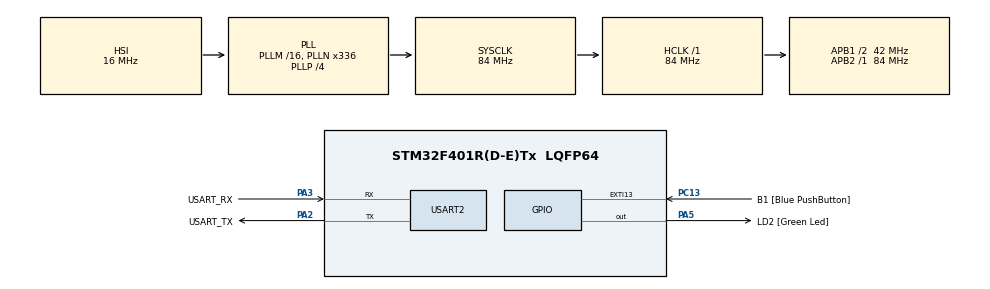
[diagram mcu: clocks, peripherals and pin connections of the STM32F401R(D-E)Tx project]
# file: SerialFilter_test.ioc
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Mcu.Family=STM32F4
Mcu.Name=STM32F401R(D-E)Tx
Mcu.Package=LQFP64
NVIC.PriorityGroup=NVIC_PRIORITYGROUP_0
PA13.GPIO_Label=TMS
PA13.Mode=Serial_Wire
PA13.Signal=SYS_JTMS-SWDIO
PA14.GPIO_Label=TCK
PA14.Mode=Serial_Wire
PA14.Signal=SYS_JTCK-SWCLK
PA2.GPIO_Label=USART_TX
PA2.GPIO_Mode=GPIO_MODE_AF_PP
PA2.GPIO_PuPd=GPIO_NOPULL
PA2.GPIO_Speed=GPIO_SPEED_FREQ_LOW
PA2.Mode=Asynchronous
PA2.Signal=USART2_TX
PA3.GPIO_Label=USART_RX
PA3.GPIO_Mode=GPIO_MODE_AF_PP
PA3.GPIO_PuPd=GPIO_NOPULL
PA3.GPIO_Speed=GPIO_SPEED_FREQ_LOW
PA3.Mode=Asynchronous
PA3.Signal=USART2_RX
PA5.GPIO_Label=LD2 [Green Led]
PA5.GPIO_Mode=GPIO_MODE_OUTPUT_PP
PA5.GPIO_PuPd=GPIO_NOPULL
PA5.GPIO_Speed=GPIO_SPEED_FREQ_LOW
PA5.Signal=GPIO_Output
PB3.GPIO_Label=SWO
PB3.Signal=SYS_JTDO-SWO
PC13-ANTI_TAMP.GPIO_Label=B1 [Blue PushButton]
PC13-ANTI_TAMP.GPIO_ModeDefaultEXTI=GPIO_MODE_IT_FALLING
PC13-ANTI_TAMP.GPIO_PuPd=GPIO_NOPULL
PC13-ANTI_TAMP.Signal=GPXTI13
PC14-OSC32_IN.Mode=LSE-External-Oscillator
PC14-OSC32_IN.Signal=RCC_OSC32_IN
PC15-OSC32_OUT.Mode=LSE-External-Oscillator
PC15-OSC32_OUT.Signal=RCC_OSC32_OUT
PH0\ -\ OSC_IN.Mode=HSE-External-Clock-Source
PH0\ -\ OSC_IN.Signal=RCC_OSC_IN
PH1\ -\ OSC_OUT.Mode=HSE-External-Clock-Source
PH1\ -\ OSC_OUT.Signal=RCC_OSC_OUT
ProjectManager.HeapSize=0x200
ProjectManager.StackSize=0x400
ProjectManager.TargetToolchain=STM32CubeIDE
RCC.48MHZClocksFreq_Value=48000000
RCC.AHBFreq_Value=84000000
RCC.APB1CLKDivider=RCC_HCLK_DIV2
RCC.APB1Freq_Value=42000000
RCC.APB1TimFreq_Value=84000000
RCC.APB2Freq_Value=84000000
RCC.APB2TimFreq_Value=84000000
RCC.CortexFreq_Value=84000000
RCC.HCLKFreq_Value=84000000
RCC.HSE_VALUE=8000000
RCC.HSI_VALUE=16000000
RCC.PLLN=336
RCC.PLLP=RCC_PLLP_DIV4
RCC.PLLQ=7
RCC.SYSCLKFreq_VALUE=84000000
RCC.SYSCLKSource=RCC_SYSCLKSOURCE_PLLCLK
RCC.VCOOutputFreq_Value=336000000
USART2.VirtualMode=VM_ASYNC
board=NUCLEO-F401RE

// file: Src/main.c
/* USER CODE BEGIN Header */
/**
  ******************************************************************************
  * @file           : main.c
  * @brief          : Main program body
  ******************************************************************************
  * @attention
  *
  * <h2><center>&copy; Copyright (c) 2019 STMicroelectronics.
  * All rights reserved.</center></h2>
  *
  * This software component is licensed by ST under BSD 3-Clause license,
  * the "License"; You may not use this file except in compliance with the
  * License. You may obtain a copy of the License at:
  *                        opensource.org/licenses/BSD-3-Clause
  *
  ******************************************************************************
  */
/* USER CODE END Header */

#include "main.h"

#include "arm_math.h"

//Binding Includes:

#include "rdsp.h"

#include "cmp.h"

/* USER CODE BEGIN PD */

#define MAX_NUM_TAPS 32

#define BLOCK_SIZE 100

#define RX_BUFFER_LEN 10

#define TX_BUFFER_LEN 10

#define USART_TIMEOUT HAL_MAX_DELAY //(ms)

//ESTADOS

#define ESPERANDO_FILTRO 	0
#define INSTANCIANDO_FILTRO 1
#define PROCESAR 			2
#define ENVIAR_RESULTADO 	3

/* USER CODE END PD */

UART_HandleTypeDef huart2;

uint8_t RX_Data[RX_BUFFER_LEN];

uint8_t TX_Data[TX_BUFFER_LEN];

HAL_StatusTypeDef status;

uint8_t state = 0;

//Filter Variables:

arm_fir_instance_q15 S;

uint16_t numTaps = MAX_NUM_TAPS;

q15_t	pCoeffs[MAX_NUM_TAPS] = {0};

q15_t   pState[BLOCK_SIZE];

uint32_t blockSize = BLOCK_SIZE;

q15_t pSrc[BLOCK_SIZE], pDst[BLOCK_SIZE];

//Binding Variables

rdsp_context_t Context;

rdsp_read_t RX = {(void*) RX_Data, (size_t) RX_BUFFER_LEN, NULL};

rdsp_write_t TX = {(void*) TX_Data, (size_t) TX_BUFFER_LEN, NULL};

void SystemClock_Config(void);
static void MX_GPIO_Init(void);
static void MX_USART2_UART_Init(void);

int main(void)
{

	  /* MCU Configuration--------------------------------------------------------*/

	  /* Reset of all peripherals, Initializes the Flash interface and the Systick. */
	  HAL_Init();

	  /* USER CODE BEGIN Init */

	  rdsp_context_init(&Context, RX, TX, NULL);

	  /* USER CODE END Init */

	  /* Configure the system clock */
	  SystemClock_Config();

	  /* Initialize all configured peripherals */
	  MX_GPIO_Init();
	  MX_USART2_UART_Init();

	  /* Infinite loop */
	  /* USER CODE BEGIN WHILE */
	  while (1)
	  {

		  switch(state)
		  {
			  case ESPERANDO_FILTRO :

				  status = HAL_UART_Receive(&huart2, RX_Data, RX_BUFFER_LEN, USART_TIMEOUT);

				  if(status != HAL_TIMEOUT)
				  {
					  state = INSTANCIANDO_FILTRO;
				  }

				  else state = ESPERANDO_FILTRO;

				  break;
			  case INSTANCIANDO_FILTRO :

				  arm_fir_init_q15(&S, numTaps, pCoeffs, pState, blockSize);

				  break;

			  case PROCESAR :

				  arm_fir_q15(&S, pSrc, pDst, blockSize);

				  break;
			  case ENVIAR_RESULTADO :

				  status = HAL_UART_Transmit(&huart2, TX_Data, TX_BUFFER_LEN, USART_TIMEOUT);

				  if(status != HAL_TIMEOUT)
				  {
					  state = ESPERANDO_FILTRO;
				  }

				  else state = ENVIAR_RESULTADO;

				  break;
			  default :

				  state = ESPERANDO_FILTRO;
				  break;
		  }

	    /* USER CODE END WHILE */

	  }
}

void SystemClock_Config(void)
{
  RCC_OscInitTypeDef RCC_OscInitStruct = {0};
  RCC_ClkInitTypeDef RCC_ClkInitStruct = {0};

  /** Configure the main internal regulator output voltage
  */
  __HAL_RCC_PWR_CLK_ENABLE();
  __HAL_PWR_VOLTAGESCALING_CONFIG(PWR_REGULATOR_VOLTAGE_SCALE2);
  /** Initializes the CPU, AHB and APB busses clocks
  */
  RCC_OscInitStruct.OscillatorType = RCC_OSCILLATORTYPE_HSI;
  RCC_OscInitStruct.HSIState = RCC_HSI_ON;
  RCC_OscInitStruct.HSICalibrationValue = RCC_HSICALIBRATION_DEFAULT;
  RCC_OscInitStruct.PLL.PLLState = RCC_PLL_ON;
  RCC_OscInitStruct.PLL.PLLSource = RCC_PLLSOURCE_HSI;
  RCC_OscInitStruct.PLL.PLLM = 16;
  RCC_OscInitStruct.PLL.PLLN = 336;
  RCC_OscInitStruct.PLL.PLLP = RCC_PLLP_DIV4;
  RCC_OscInitStruct.PLL.PLLQ = 7;
  if (HAL_RCC_OscConfig(&RCC_OscInitStruct) != HAL_OK)
  {
    Error_Handler();
  }
  /** Initializes the CPU, AHB and APB busses clocks
  */
  RCC_ClkInitStruct.ClockType = RCC_CLOCKTYPE_HCLK|RCC_CLOCKTYPE_SYSCLK
                              |RCC_CLOCKTYPE_PCLK1|RCC_CLOCKTYPE_PCLK2;
  RCC_ClkInitStruct.SYSCLKSource = RCC_SYSCLKSOURCE_PLLCLK;
  RCC_ClkInitStruct.AHBCLKDivider = RCC_SYSCLK_DIV1;
  RCC_ClkInitStruct.APB1CLKDivider = RCC_HCLK_DIV2;
  RCC_ClkInitStruct.APB2CLKDivider = RCC_HCLK_DIV1;

  if (HAL_RCC_ClockConfig(&RCC_ClkInitStruct, FLASH_LATENCY_2) != HAL_OK)
  {
    Error_Handler();
  }
}

static void MX_USART2_UART_Init(void)
{

  huart2.Instance = USART2;
  huart2.Init.BaudRate = 115200;
  huart2.Init.WordLength = UART_WORDLENGTH_8B;
  huart2.Init.StopBits = UART_STOPBITS_1;
  huart2.Init.Parity = UART_PARITY_NONE;
  huart2.Init.Mode = UART_MODE_TX_RX;
  huart2.Init.HwFlowCtl = UART_HWCONTROL_NONE;
  huart2.Init.OverSampling = UART_OVERSAMPLING_16;
  if (HAL_UART_Init(&huart2) != HAL_OK)
  {
    Error_Handler();
  }

}

static void MX_GPIO_Init(void)
{
  GPIO_InitTypeDef GPIO_InitStruct = {0};

  /* GPIO Ports Clock Enable */
  __HAL_RCC_GPIOC_CLK_ENABLE();
  __HAL_RCC_GPIOH_CLK_ENABLE();
  __HAL_RCC_GPIOA_CLK_ENABLE();
  __HAL_RCC_GPIOB_CLK_ENABLE();

  /*Configure GPIO pin Output Level */
  HAL_GPIO_WritePin(LD2_GPIO_Port, LD2_Pin, GPIO_PIN_RESET);

  /*Configure GPIO pin : B1_Pin */
  GPIO_InitStruct.Pin = B1_Pin;
  GPIO_InitStruct.Mode = GPIO_MODE_IT_FALLING;
  GPIO_InitStruct.Pull = GPIO_NOPULL;
  HAL_GPIO_Init(B1_GPIO_Port, &GPIO_InitStruct);

  /*Configure GPIO pin : LD2_Pin */
  GPIO_InitStruct.Pin = LD2_Pin;
  GPIO_InitStruct.Mode = GPIO_MODE_OUTPUT_PP;
  GPIO_InitStruct.Pull = GPIO_NOPULL;
  GPIO_InitStruct.Speed = GPIO_SPEED_FREQ_LOW;
  HAL_GPIO_Init(LD2_GPIO_Port, &GPIO_InitStruct);

}

void Error_Handler(void)
{
}

/************************ (C) COPYRIGHT STMicroelectronics *****END OF FILE****/
